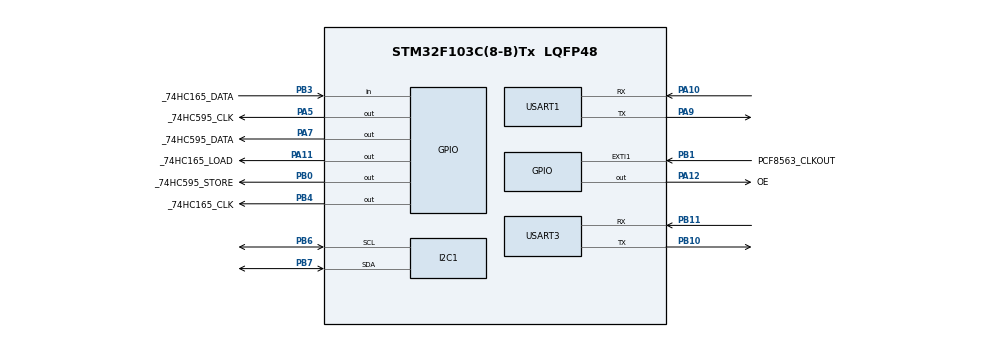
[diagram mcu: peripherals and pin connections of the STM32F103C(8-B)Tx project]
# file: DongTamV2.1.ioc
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Dma.Request0=USART1_RX
Dma.Request1=USART3_RX
Dma.USART1_RX.0.Direction=DMA_PERIPH_TO_MEMORY
Dma.USART1_RX.0.Instance=DMA1_Channel5
Dma.USART1_RX.0.MemDataAlignment=DMA_MDATAALIGN_BYTE
Dma.USART1_RX.0.MemInc=DMA_MINC_ENABLE
Dma.USART1_RX.0.Mode=DMA_NORMAL
Dma.USART1_RX.0.PeriphDataAlignment=DMA_PDATAALIGN_BYTE
Dma.USART1_RX.0.PeriphInc=DMA_PINC_DISABLE
Dma.USART1_RX.0.Priority=DMA_PRIORITY_LOW
Dma.USART3_RX.1.Direction=DMA_PERIPH_TO_MEMORY
Dma.USART3_RX.1.Instance=DMA1_Channel3
Dma.USART3_RX.1.MemDataAlignment=DMA_MDATAALIGN_BYTE
Dma.USART3_RX.1.MemInc=DMA_MINC_ENABLE
Dma.USART3_RX.1.Mode=DMA_NORMAL
Dma.USART3_RX.1.PeriphDataAlignment=DMA_PDATAALIGN_BYTE
Dma.USART3_RX.1.PeriphInc=DMA_PINC_DISABLE
Dma.USART3_RX.1.Priority=DMA_PRIORITY_LOW
Mcu.Family=STM32F1
Mcu.Name=STM32F103C(8-B)Tx
Mcu.Package=LQFP48
NVIC.DMA1_Channel3_IRQn=true\:0\:0\:false\:false\:true\:false\:true\:true
NVIC.DMA1_Channel5_IRQn=true\:0\:0\:false\:false\:true\:false\:true\:true
NVIC.EXTI1_IRQn=true\:0\:0\:false\:false\:true\:true\:true\:true
NVIC.PriorityGroup=NVIC_PRIORITYGROUP_4
NVIC.TIM2_IRQn=true\:0\:0\:false\:false\:true\:true\:true\:true
NVIC.USART1_IRQn=true\:0\:0\:false\:false\:true\:true\:true\:true
NVIC.USART3_IRQn=true\:0\:0\:false\:false\:true\:true\:true\:true
PA10.Mode=Asynchronous
PA10.Signal=USART1_RX
PA11.GPIO_Label=_74HC165_LOAD
PA11.Signal=GPIO_Output
PA12.GPIO_Label=OE
PA12.Signal=GPIO_Output
PA13.Mode=Serial_Wire
PA13.Signal=SYS_JTMS-SWDIO
PA14.Mode=Serial_Wire
PA14.Signal=SYS_JTCK-SWCLK
PA5.GPIO_Label=_74HC595_CLK
PA5.Signal=GPIO_Output
PA7.GPIO_Label=_74HC595_DATA
PA7.Signal=GPIO_Output
PA9.Mode=Asynchronous
PA9.Signal=USART1_TX
PB0.GPIO_Label=_74HC595_STORE
PB0.Signal=GPIO_Output
PB1.GPIO_Label=PCF8563_CLKOUT
PB1.Signal=GPXTI1
PB10.Mode=Asynchronous
PB10.Signal=USART3_TX
PB11.Mode=Asynchronous
PB11.Signal=USART3_RX
PB3.GPIO_Label=_74HC165_DATA
PB3.Signal=GPIO_Input
PB4.GPIO_Label=_74HC165_CLK
PB4.Signal=GPIO_Output
PB6.Mode=I2C
PB6.Signal=I2C1_SCL
PB7.Mode=I2C
PB7.Signal=I2C1_SDA
PD0-OSC_IN.Mode=HSE-External-Oscillator
PD0-OSC_IN.Signal=RCC_OSC_IN
PD1-OSC_OUT.Mode=HSE-External-Oscillator
PD1-OSC_OUT.Signal=RCC_OSC_OUT
ProjectManager.HeapSize=0x200
ProjectManager.StackSize=0x400
ProjectManager.TargetToolchain=STM32CubeIDE
RCC.APB1Freq_Value=8000000
RCC.APB2Freq_Value=8000000
TIM2.Period=10000-1
TIM2.Prescaler=8-1
USART1.VirtualMode=VM_ASYNC
USART3.VirtualMode=VM_ASYNC
VP_TIM2_VS_ClockSourceINT.Mode=Internal
board=custom

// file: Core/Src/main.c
/* USER CODE BEGIN Header */
/**
 ******************************************************************************
 * @file           : main.c
 * @brief          : Main program body
 ******************************************************************************
 * @attention
 *
 * Copyright (c) 2023 STMicroelectronics.
 * All rights reserved.
 *
 * This software is licensed under terms that can be found in the LICENSE file
 * in the root directory of this software component.
 * If no LICENSE file comes with this software, it is provided AS-IS.
 *
 ******************************************************************************
 */
/* USER CODE END Header */
#include "main.h"

/* USER CODE BEGIN Includes */
#include "stdbool.h"
#include "stdio.h"
#include "stdlib.h"

#include "BoardParameter.h"
#include "MessageHandle.h"

/* USER CODE END Includes */

/* USER CODE BEGIN PD */
#define RTC_RESET_COUNT 60
/* USER CODE END PD */

I2C_HandleTypeDef hi2c1;

TIM_HandleTypeDef htim2;

UART_HandleTypeDef huart1;
UART_HandleTypeDef huart3;
DMA_HandleTypeDef hdma_usart1_rx;
DMA_HandleTypeDef hdma_usart3_rx;

/* USER CODE BEGIN PV */

FlagGroup_t fUART, fMesg, f1;
int SetVan, ClearVan;
char uartEsp32Buffer[MAX_MESSAGE], uartLogBuffer[MAX_MESSAGE];
uint16_t uartEsp32RxSize, uartLogRxSize;
UART_HandleTypeDef *uartTarget;
char mesgRX[MAX_MESSAGE], mesgTX[MAX_MESSAGE];
MesgValRX mesgRxRet;
uint16_t timerArray[2];
char outputStr[50];
char currentTimeStr[50];
char currentVanState[50];

//extern BoardParameter brdParam;
/* USER CODE END PV */

void SystemClock_Config(void);
static void MX_GPIO_Init(void);
static void MX_DMA_Init(void);
static void MX_USART1_UART_Init(void);
static void MX_USART3_UART_Init(void);
static void MX_I2C1_Init(void);
static void MX_TIM2_Init(void);
/* USER CODE BEGIN PFP */
void SetUp();
HAL_StatusTypeDef GetUartMessage(char *outputStr);
/* USER CODE END PFP */

/* USER CODE BEGIN 0 */
const char *TAG = "MAIN";

void HAL_I2C_MasterRxCpltCallback(I2C_HandleTypeDef *hi2c)
{
	if (hi2c->Instance == I2C1) {

	}
}
void HAL_UARTEx_RxEventCallback(UART_HandleTypeDef *huart, uint16_t Size) {
	if (huart->Instance == USART1) {
		HAL_UARTEx_ReceiveToIdle_DMA(huart, (uint8_t*) uartEsp32Buffer, MAX_MESSAGE);
		uartEsp32RxSize = Size;
		SETFLAG(fUART, FLAG_UART_ESP_RX_DONE);
	}
	if (huart->Instance == USART3) {
		HAL_UARTEx_ReceiveToIdle_DMA(huart, (uint8_t*) uartLogBuffer, MAX_MESSAGE);
		uartLogRxSize = Size;
		SETFLAG(fUART, FLAG_UART_LOG_RX_DONE);
	}
}

void HAL_GPIO_EXTI_Callback(uint16_t GPIO_Pin) {
	if (GPIO_Pin == PCF8563_CLKOUT_Pin) {
		uint16_t rtcTick = Brd_RTC_GetTickCount();
		if (rtcTick >= RTC_RESET_COUNT) {
			Brd_RTC_SetTickCount(0); // reset tick
			Brd_GetRTC(); // refresh board time by request RTC IC to send new time format
		}
		else {
			rtcTick++;
			Brd_RTC_SetTickCount(rtcTick);
		}
	}
}

void HAL_UART_ErrorCallback(UART_HandleTypeDef *huart)
{
	if (huart == &huart1) {
		HAL_UART_DMAStop(huart); // Stop DMA reception
		HAL_UARTEx_ReceiveToIdle_DMA(&huart1, (uint8_t*) uartEsp32Buffer, MAX_MESSAGE);
		Brd_ESP32_SetConnectIsFalse();
	}
}

/**
 * Hàm ngắt timer đếm th�?i gian Pulse và th�?i gian nghỉ giữa 2 lần kích van
 * @param htim bộ timer cần truy�?n vào để kiểm tra c�? ngắt
 */
void HAL_TIM_PeriodElapsedCallback(TIM_HandleTypeDef *htim)
{
	if (htim->Instance == TIM2) {
		VanProcedure state = Brd_GetVanProcState();
		uint32_t tArray;
		switch (state) {
			case BRD_PULSE_TIME:
				tArray = Brd_GetTimerArray(0);
				tArray++;
				Brd_SetTimerArray(0, tArray);
			break;
			case BRD_INTERVAL_TIME:
				tArray = Brd_GetTimerArray(1);
				tArray++;
				Brd_SetTimerArray(1, tArray);
			break;
			case BRD_CYCLE_INTERVAL_TIME:
				tArray = Brd_GetTimerArray(2);
				tArray++;
				Brd_SetTimerArray(2, tArray);
			break;
			default:

			break;
		}
		// this is not relative to VanProcState
		tArray = Brd_GetTimerArray(3);
		tArray++;
		Brd_SetTimerArray(3, tArray);
	}
}

/* USER CODE END 0 */

int main(void)
{

	/* MCU Configuration--------------------------------------------------------*/

	/* Reset of all peripherals, Initializes the Flash interface and the Systick. */
	HAL_Init();

	/* Configure the system clock */
	SystemClock_Config();

	/* Initialize all configured peripherals */
	MX_GPIO_Init();
	MX_DMA_Init();
	MX_USART1_UART_Init();
	MX_USART3_UART_Init();
	MX_I2C1_Init();
	MX_TIM2_Init();
	/* USER CODE BEGIN 2 */
	SetUp();
	HAL_UART_Transmit(&huart3, (uint8_t*) "Hello PC\n", sizeof("Hello PC\n"), HAL_MAX_DELAY);
	HAL_TIM_Base_Start_IT(&htim2);
	uartTarget = &huart1;
	while (!uartTarget);
	Brd_SetCycleIntervalTime(2);
	Brd_SetIntervalTime(4);
	Brd_SetPulseTime(60);
	Brd_SetTotalVan(4);
	/* USER CODE END 2 */

	/* Infinite loop */
	/* USER CODE BEGIN WHILE */
	while (1)
	{
		if (GetUartMessage(mesgRX) == HAL_OK) {
			mesgRxRet = MessageRxHandle(mesgRX, mesgTX);
			HAL_Delay(1); // wait ESP32 a bit to process
			if ((HAL_StatusTypeDef) mesgRxRet != HAL_OK) {
				HAL_UART_Transmit(uartTarget, (uint8_t*) mesgTX, strlen(mesgTX), HAL_MAX_DELAY);
				char *s = "Invalid message, do nothing\n";
				HAL_UART_Transmit(uartTarget, (uint8_t*) s, strlen(s), HAL_MAX_DELAY);
			}
			else
				HAL_UART_Transmit(uartTarget, (uint8_t*) mesgTX, strlen(mesgTX), HAL_MAX_DELAY);
			memset(mesgRX, 0, sizeof(mesgRX));
		}
		ProcedureTriggerVan(outputStr);
//	  if(Brd_GetVanProcState() == BRD_PULSE_TIME){
//		  HAL_UART_Transmit(uartTarget,(uint8_t*)outputStr, strlen(outputStr), HAL_MAX_DELAY);
//	  }
		if (Brd_GetVanProcState() == BRD_VAN_OFF) {
			// log pressure
			HAL_UART_Transmit(uartTarget, (uint8_t*) outputStr, strlen(outputStr), HAL_MAX_DELAY);
			HAL_Delay(1);

			MessageTxHandle(TX_CURRENT_TIME_FROM_TICK, currentTimeStr);
			HAL_UART_Transmit(uartTarget, (uint8_t*) currentTimeStr, strlen(currentTimeStr), HAL_MAX_DELAY);
			HAL_Delay(1);

			MessageTxHandle(TX_VANSTATE, currentVanState);
			HAL_UART_Transmit(uartTarget, (uint8_t*) currentVanState, strlen(currentVanState), HAL_MAX_DELAY);
			Brd_SetHC165State(false);
		}
		if (Brd_SendingPressurePeriodicly(outputStr, currentTimeStr) == HAL_OK
				&& Brd_ESP32_IsConnected()) {
			HAL_UART_Transmit(&huart1, (uint8_t*) outputStr, strlen(outputStr), HAL_MAX_DELAY);
			HAL_Delay(1);
			HAL_UART_Transmit(&huart1, (uint8_t*) currentTimeStr, strlen(currentTimeStr), HAL_MAX_DELAY);
		}
		/* USER CODE END WHILE */

	}
}

void SystemClock_Config(void)
{
	RCC_OscInitTypeDef RCC_OscInitStruct = { 0 };
	RCC_ClkInitTypeDef RCC_ClkInitStruct = { 0 };

	/** Initializes the RCC Oscillators according to the specified parameters
	 * in the RCC_OscInitTypeDef structure.
	 */
	RCC_OscInitStruct.OscillatorType = RCC_OSCILLATORTYPE_HSI;
	RCC_OscInitStruct.HSIState = RCC_HSI_ON;
	RCC_OscInitStruct.HSICalibrationValue = RCC_HSICALIBRATION_DEFAULT;
	RCC_OscInitStruct.PLL.PLLState = RCC_PLL_NONE;
	if (HAL_RCC_OscConfig(&RCC_OscInitStruct) != HAL_OK)
			{
		Error_Handler();
	}

	/** Initializes the CPU, AHB and APB buses clocks
	 */
	RCC_ClkInitStruct.ClockType = RCC_CLOCKTYPE_HCLK | RCC_CLOCKTYPE_SYSCLK
			| RCC_CLOCKTYPE_PCLK1 | RCC_CLOCKTYPE_PCLK2;
	RCC_ClkInitStruct.SYSCLKSource = RCC_SYSCLKSOURCE_HSI;
	RCC_ClkInitStruct.AHBCLKDivider = RCC_SYSCLK_DIV1;
	RCC_ClkInitStruct.APB1CLKDivider = RCC_HCLK_DIV1;
	RCC_ClkInitStruct.APB2CLKDivider = RCC_HCLK_DIV1;

	if (HAL_RCC_ClockConfig(&RCC_ClkInitStruct, FLASH_LATENCY_0) != HAL_OK)
			{
		Error_Handler();
	}
}

static void MX_I2C1_Init(void)
{

	hi2c1.Instance = I2C1;
	hi2c1.Init.ClockSpeed = 100000;
	hi2c1.Init.DutyCycle = I2C_DUTYCYCLE_2;
	hi2c1.Init.OwnAddress1 = 0;
	hi2c1.Init.AddressingMode = I2C_ADDRESSINGMODE_7BIT;
	hi2c1.Init.DualAddressMode = I2C_DUALADDRESS_DISABLE;
	hi2c1.Init.OwnAddress2 = 0;
	hi2c1.Init.GeneralCallMode = I2C_GENERALCALL_DISABLE;
	hi2c1.Init.NoStretchMode = I2C_NOSTRETCH_DISABLE;
	if (HAL_I2C_Init(&hi2c1) != HAL_OK)
			{
		Error_Handler();
	}

}

static void MX_TIM2_Init(void)
{

	TIM_ClockConfigTypeDef sClockSourceConfig = { 0 };
	TIM_MasterConfigTypeDef sMasterConfig = { 0 };

	htim2.Instance = TIM2;
	htim2.Init.Prescaler = 8 - 1;
	htim2.Init.CounterMode = TIM_COUNTERMODE_UP;
	htim2.Init.Period = 10000 - 1;
	htim2.Init.ClockDivision = TIM_CLOCKDIVISION_DIV1;
	htim2.Init.AutoReloadPreload = TIM_AUTORELOAD_PRELOAD_DISABLE;
	if (HAL_TIM_Base_Init(&htim2) != HAL_OK)
			{
		Error_Handler();
	}
	sClockSourceConfig.ClockSource = TIM_CLOCKSOURCE_INTERNAL;
	if (HAL_TIM_ConfigClockSource(&htim2, &sClockSourceConfig) != HAL_OK)
			{
		Error_Handler();
	}
	sMasterConfig.MasterOutputTrigger = TIM_TRGO_RESET;
	sMasterConfig.MasterSlaveMode = TIM_MASTERSLAVEMODE_DISABLE;
	if (HAL_TIMEx_MasterConfigSynchronization(&htim2, &sMasterConfig) != HAL_OK)
			{
		Error_Handler();
	}

}

static void MX_USART1_UART_Init(void)
{

	huart1.Instance = USART1;
	huart1.Init.BaudRate = 115200;
	huart1.Init.WordLength = UART_WORDLENGTH_8B;
	huart1.Init.StopBits = UART_STOPBITS_1;
	huart1.Init.Parity = UART_PARITY_NONE;
	huart1.Init.Mode = UART_MODE_TX_RX;
	huart1.Init.HwFlowCtl = UART_HWCONTROL_NONE;
	huart1.Init.OverSampling = UART_OVERSAMPLING_16;
	if (HAL_UART_Init(&huart1) != HAL_OK)
			{
		Error_Handler();
	}

}

static void MX_USART3_UART_Init(void)
{

	huart3.Instance = USART3;
	huart3.Init.BaudRate = 115200;
	huart3.Init.WordLength = UART_WORDLENGTH_8B;
	huart3.Init.StopBits = UART_STOPBITS_1;
	huart3.Init.Parity = UART_PARITY_NONE;
	huart3.Init.Mode = UART_MODE_TX_RX;
	huart3.Init.HwFlowCtl = UART_HWCONTROL_NONE;
	huart3.Init.OverSampling = UART_OVERSAMPLING_16;
	if (HAL_UART_Init(&huart3) != HAL_OK)
			{
		Error_Handler();
	}

}

static void MX_DMA_Init(void)
{

	/* DMA controller clock enable */
	__HAL_RCC_DMA1_CLK_ENABLE();

	/* DMA interrupt init */
	/* DMA1_Channel3_IRQn interrupt configuration */
	HAL_NVIC_SetPriority(DMA1_Channel3_IRQn, 0, 0);
	HAL_NVIC_EnableIRQ(DMA1_Channel3_IRQn);
	/* DMA1_Channel5_IRQn interrupt configuration */
	HAL_NVIC_SetPriority(DMA1_Channel5_IRQn, 0, 0);
	HAL_NVIC_EnableIRQ(DMA1_Channel5_IRQn);

}

static void MX_GPIO_Init(void)
{
	GPIO_InitTypeDef GPIO_InitStruct = { 0 };

	/* GPIO Ports Clock Enable */
	__HAL_RCC_GPIOD_CLK_ENABLE();
	__HAL_RCC_GPIOA_CLK_ENABLE();
	__HAL_RCC_GPIOB_CLK_ENABLE();

	/*Configure GPIO pin Output Level */
	HAL_GPIO_WritePin(GPIOA, _74HC595_CLK_Pin | _74HC595_DATA_Pin | _74HC165_LOAD_Pin | OE_Pin, GPIO_PIN_RESET);

	/*Configure GPIO pin Output Level */
	HAL_GPIO_WritePin(GPIOB, _74HC595_STORE_Pin | _74HC165_CLK_Pin, GPIO_PIN_RESET);

	/*Configure GPIO pins : _74HC595_CLK_Pin _74HC595_DATA_Pin _74HC165_LOAD_Pin OE_Pin */
	GPIO_InitStruct.Pin = _74HC595_CLK_Pin | _74HC595_DATA_Pin | _74HC165_LOAD_Pin | OE_Pin;
	GPIO_InitStruct.Mode = GPIO_MODE_OUTPUT_PP;
	GPIO_InitStruct.Pull = GPIO_NOPULL;
	GPIO_InitStruct.Speed = GPIO_SPEED_FREQ_LOW;
	HAL_GPIO_Init(GPIOA, &GPIO_InitStruct);

	/*Configure GPIO pins : _74HC595_STORE_Pin _74HC165_CLK_Pin */
	GPIO_InitStruct.Pin = _74HC595_STORE_Pin | _74HC165_CLK_Pin;
	GPIO_InitStruct.Mode = GPIO_MODE_OUTPUT_PP;
	GPIO_InitStruct.Pull = GPIO_NOPULL;
	GPIO_InitStruct.Speed = GPIO_SPEED_FREQ_LOW;
	HAL_GPIO_Init(GPIOB, &GPIO_InitStruct);

	/*Configure GPIO pin : PCF8563_CLKOUT_Pin */
	GPIO_InitStruct.Pin = PCF8563_CLKOUT_Pin;
	GPIO_InitStruct.Mode = GPIO_MODE_IT_RISING;
	GPIO_InitStruct.Pull = GPIO_NOPULL;
	HAL_GPIO_Init(PCF8563_CLKOUT_GPIO_Port, &GPIO_InitStruct);

	/*Configure GPIO pin : _74HC165_DATA_Pin */
	GPIO_InitStruct.Pin = _74HC165_DATA_Pin;
	GPIO_InitStruct.Mode = GPIO_MODE_INPUT;
	GPIO_InitStruct.Pull = GPIO_NOPULL;
	HAL_GPIO_Init(_74HC165_DATA_GPIO_Port, &GPIO_InitStruct);

	/* EXTI interrupt init*/
	HAL_NVIC_SetPriority(EXTI1_IRQn, 0, 0);
	HAL_NVIC_EnableIRQ(EXTI1_IRQn);

}

/* USER CODE BEGIN 4 */

/**
 * @brief Nếu có chuỗi nhận được từ port UART (ESP hoặc máy tính), copy chuỗi nhận được ra outputStr và reset bộ đệm
 * @param outputStr mảng chứa thông tin nhận được từ UART
 * @return
 */
HAL_StatusTypeDef GetUartMessage(char *outputStr)
{
	if (CHECKFLAG(fUART, FLAG_UART_ESP_RX_DONE)) {
		uartTarget = &huart1;
		strcpy(mesgRX, uartEsp32Buffer);
		memset(uartEsp32Buffer, 0, uartEsp32RxSize);
		CLEARFLAG(fUART, FLAG_UART_ESP_RX_DONE);
		return HAL_OK;
	}
	if (CHECKFLAG(fUART, FLAG_UART_LOG_RX_DONE)) {
		uartTarget = &huart3;
		strcpy(mesgRX, uartLogBuffer);
		memset(uartLogBuffer, 0, uartLogRxSize);
		CLEARFLAG(fUART, FLAG_UART_LOG_RX_DONE);
		return HAL_OK;
	}
	return HAL_ERROR;
}

void UartIdle_Init()
{
	HAL_UARTEx_ReceiveToIdle_DMA(&huart1, (uint8_t*) uartEsp32Buffer, MAX_MESSAGE);
	HAL_UARTEx_ReceiveToIdle_DMA(&huart3, (uint8_t*) uartLogBuffer, MAX_MESSAGE);
	__HAL_DMA_DISABLE_IT(&hdma_usart1_rx, DMA_IT_HT);
	__HAL_DMA_DISABLE_IT(&hdma_usart3_rx, DMA_IT_HT);
}

void hc595_SetUp()
{
	HC595 *p595 = Brd_GetAddress_HC595();
	HC595_AssignPin(p595, GPIOA, GPIO_PIN_5, HC595_CLK);
	HC595_AssignPin(p595, GPIOA, GPIO_PIN_7, HC595_DS);
	HC595_AssignPin(p595, GPIOB, GPIO_PIN_0, HC595_LATCH);
	HC595_AssignPin(p595, GPIOA, GPIO_PIN_12, HC595_OE);
	HC595_SetTarget(p595);

	HC595_ClearByteOutput(0xffffffff);
	HC595_ShiftOut(NULL, 2, 1);
	HC595_EnableOutput();
}

void hc165_SetUp()
{
	HC165 *p165 = Brd_GetAddress_HC165();
	HC165_AssignPin(p165, GPIOA, GPIO_PIN_11, HC165_PL);
	HC165_AssignPin(p165, GPIOB, GPIO_PIN_3, HC165_DATA);
	HC165_AssignPin(p165, GPIOA, GPIO_PIN_12, HC165_CE);
	HC165_AssignPin(p165, GPIOB, GPIO_PIN_4, HC165_CP);
}

void SetUp()
{
	Brd_ESP32_SetConnectIsFalse();
	AMS5915_Init(Brd_GetAddress_AMS5915(), &hi2c1);
	PCF8563_Init(Brd_GetAddress_PCF8563(), &hi2c1);
	PCF8563_StartClock();
	PCF8563_CLKOUT_SetFreq(CLKOUT_1_Hz);
	PCF8563_CLKOUT_Enable(1);
	Brd_GetRTC();
	Brd_RTC_SetTickCount(0);
	UartIdle_Init();
	hc165_SetUp();
	hc595_SetUp();
}

/* USER CODE END 4 */

void Error_Handler(void)
{
	__disable_irq();
	while (1)
	{
	}
}
